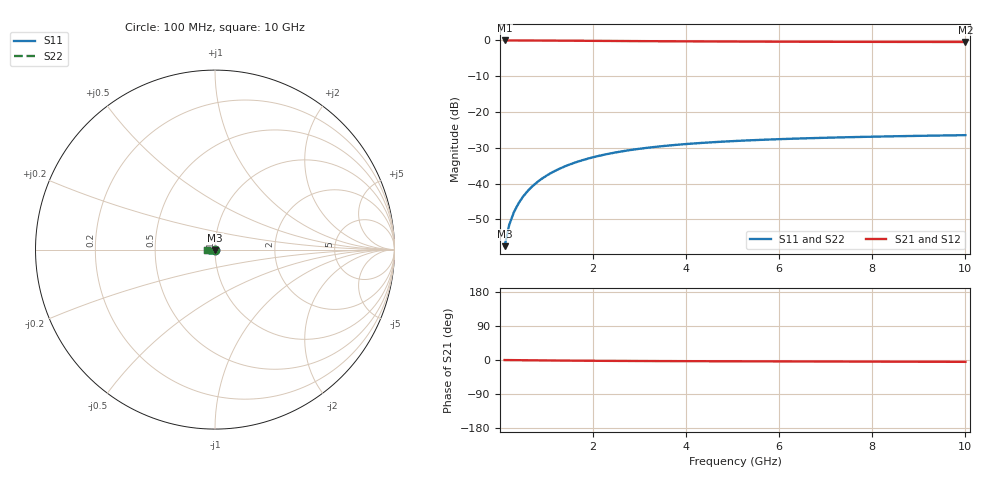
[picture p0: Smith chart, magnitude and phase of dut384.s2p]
! Touchstone file exported from HFSS 2024.1.0
!  File:  C:/UserFiles/LocalFiles/RDL_TSV_Batchsim/temp_TSV1_384_1779623061.aedt
!  Generated:  07:51:05 PM May 24, 2026
!  Design:  TSV1
!  Project:  temp_TSV1_384_1779623061
!  Setup:  Setup1
!  Solution:  Sweep
! Variables:
!  dtsv = 11.76um
!  hbump = 3um
!  htsv = 74.63um
!  lrdl = 252.1521522um
!  p = 40
!  p1 = 50.78um
!  t = 500um
!  trdl = 3um
!  wrdl = 24.89489489um
# GHz S MA R 50.000000
! Terminal data exported
! Port[1] = TSV22_T1
! Port[2] = TSV22_T2
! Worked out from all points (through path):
!   100 points, 100 MHz to 10 GHz, reference 50 ohm
!   highest |S21| = 0.00 dB at 100 MHz (marker M1); lowest = -0.4 dB at 10 GHz (marker M2)
!   lowest |S11| = -57.5 dB at 100 MHz (marker M3), VSWR 1.00, Z = 50 - j0.133 ohm
!   |S11| at or under -10 dB: start of sweep to end of sweep
!   |S22| runs from -57.5 to -26.5 dB; largest |S21 - S12| = 5.8e-15
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0.1  0.001331 -87.4  0.9999 -0.1  0.9999 -0.1  0.001331 -87.4
! Gamma 0 0 0 0
! Port Impedance 50 0 50 0
0.2  0.002656 -91.2  0.9997 -0.2  0.9997 -0.2  0.002656 -91.2
0.3  0.003981 -93.6  0.9995 -0.4  0.9995 -0.4  0.003981 -93.6
0.4  0.0053 -95.7  0.9992 -0.5  0.9992 -0.5  0.0053 -95.7
0.5  0.006609 -97.7  0.9988 -0.6  0.9988 -0.6  0.006609 -97.7
0.6  0.007904 -99.5  0.9984 -0.7  0.9984 -0.7  0.007904 -99.5
0.7  0.00918 -101.4  0.9979 -0.8  0.9979 -0.8  0.00918 -101.4
0.8  0.01044 -103.2  0.9973 -1.0  0.9973 -1.0  0.01044 -103.2
0.9  0.01167 -104.9  0.9967 -1.1  0.9967 -1.1  0.01167 -104.9
1.1  0.01405 -108.4  0.9953 -1.3  0.9953 -1.3  0.01405 -108.4
1.4  0.01741 -113.2  0.9928 -1.6  0.9928 -1.6  0.01741 -113.2
1.6  0.01949 -116.3  0.9911 -1.7  0.9911 -1.7  0.01949 -116.3
1.8  0.02144 -119.2  0.9893 -1.9  0.9893 -1.9  0.02144 -119.2
2.1  0.02413 -123.4  0.9865 -2.1  0.9865 -2.1  0.02413 -123.4
2.5  0.02728 -128.4  0.9829 -2.4  0.9829 -2.4  0.02728 -128.4
2.9  0.02999 -133.0  0.9794 -2.6  0.9794 -2.6  0.02999 -133.0
3.4  0.03284 -138.2  0.9754 -2.8  0.9754 -2.8  0.03284 -138.2
4.2  0.03643 -145.2  0.97 -3.1  0.97 -3.1  0.03642 -145.2
5.1  0.03942 -151.7  0.9651 -3.4  0.9651 -3.4  0.03942 -151.7
6.7  0.04309 -160.9  0.9588 -3.9  0.9588 -3.9  0.04309 -160.9
8.4  0.04566 -168.6  0.9545 -4.4  0.9545 -4.4  0.04566 -168.6
10  0.04743 -174.5  0.9516 -4.9  0.9516 -4.9  0.04743 -174.5
